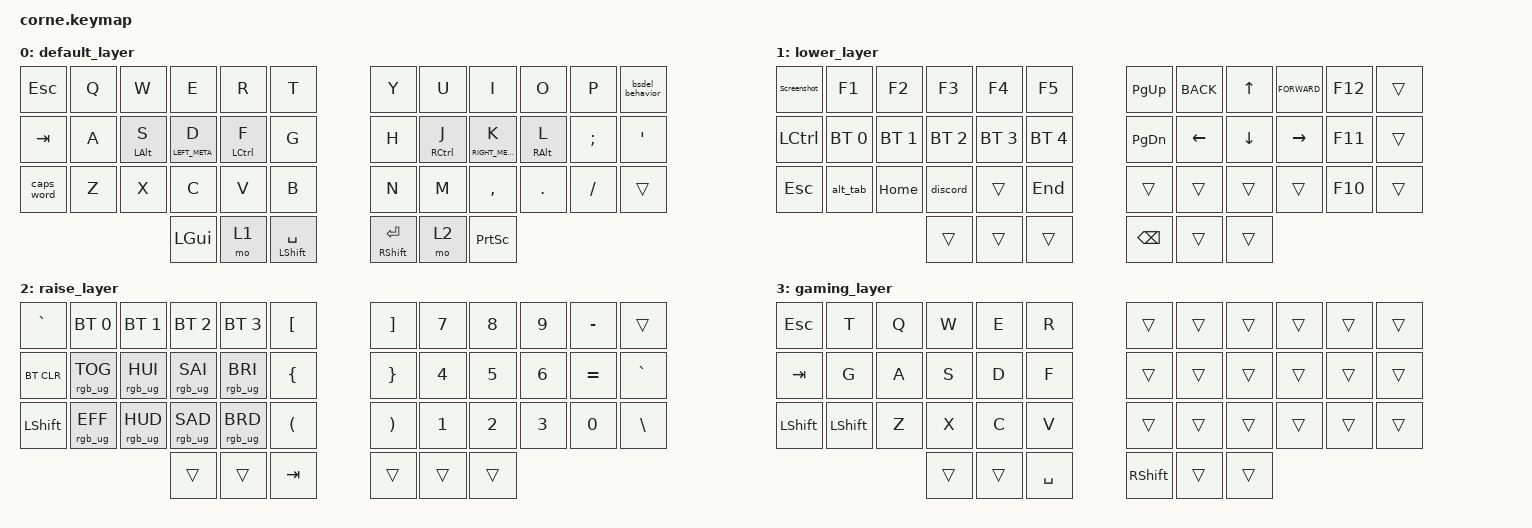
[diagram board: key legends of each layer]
/*
 * Copyright (c) 2020 The ZMK Contributors
 *
 * SPDX-License-Identifier: MIT
 */

#include <behaviors.dtsi>
#include <dt-bindings/zmk/bt.h>
#include <dt-bindings/zmk/keys.h>
#include <dt-bindings/zmk/rgb.h>

&led_strip { chain-length = <27>; };

/ {
    combos {
        compatible = "zmk,combos";

        gaming_layer_toggle {
            bindings = <&tog 3>;
            key-positions = <40 37>;
        };
    };

    behaviors {
        HMR: HMR {
            compatible = "zmk,behavior-hold-tap";
            label = "HMR";
            bindings = <&kp>, <&kp>;

            #binding-cells = <2>;
            tapping-term-ms = <200>;
            quick-tap-ms = <175>;
            flavor = "tap-preferred";
            hold-trigger-on-release;
        };

        HML: HML {
            compatible = "zmk,behavior-hold-tap";
            label = "HML";
            bindings = <&kp>, <&kp>;

            #binding-cells = <2>;
            tapping-term-ms = <200>;
            quick-tap-ms = <175>;
            hold-trigger-on-release;
            flavor = "tap-preferred";
        };

        bsdel_behavior: bsdel_behavior {
            compatible = "zmk,behavior-mod-morph";
            label = "BSDEL_BEHAVIOR";
            bindings = <&kp BACKSPACE>, <&kp DELETE>;

            #binding-cells = <0>;
            mods = <(MOD_LSFT)>;
        };
    };

    macros {
        alt_tab: alt_tab {
            compatible = "zmk,behavior-macro";
            #binding-cells = <0>;
            bindings = <&macro_press>, <&kp LEFT_META>, <&macro_tap>, <&kp TAB>;

            label = "ALT_TAB";
        };

        Screenshot: Screenshot {
            compatible = "zmk,behavior-macro";
            #binding-cells = <0>;
            bindings =
                <&macro_press>,
                <&kp LEFT_META>,
                <&macro_tap>,
                <&kp PRINTSCREEN>;

            label = "SCREENSHOT";
        };

        discord: discord {
            compatible = "zmk,behavior-macro";
            #binding-cells = <0>;
            bindings =
                <&macro_press>,
                <&kp LEFT_ALT>,
                <&macro_tap>,
                <&kp GRAVE>;

            label = "DISCORD";
        };
    };

    keymap {
        compatible = "zmk,keymap";

        default_layer {
            // -----------------------------------------------------------------------------------------
            // |  TAB |  Q  |  W  |  E  |  R  |  T  |   |  Y  |  U   |  I  |  O  |  P  | BKSP |
            // | CTRL |  A  |  S  |  D  |  F  |  G  |   |  H  |  J   |  K  |  L  |  ;  |  '   |
            // | SHFT |  Z  |  X  |  C  |  V  |  B  |   |  N  |  M   |  ,  |  .  |  /  | SHFT |
            //                    | GUI | LWR | ENT |   | SPC | RSE  | ALT |

            bindings = <
&kp ESCAPE  &kp Q  &kp W            &kp E             &kp R         &kp T                    &kp Y                   &kp U                 &kp I              &kp O             &kp P     &bsdel_behavior
&kp TAB     &kp A  &HMR LEFT_ALT S  &HMR LEFT_META D  &HMR LCTRL F  &kp G                    &kp H                   &HML RIGHT_CONTROL J  &HML RIGHT_META K  &HML RIGHT_ALT L  &kp SEMI  &kp SQT
&caps_word  &kp Z  &kp X            &kp C             &kp V         &kp B                    &kp N                   &kp M                 &kp COMMA          &kp DOT           &kp FSLH  &trans
                                    &kp LGUI          &mo 1         &HMR LEFT_SHIFT SPACE    &HML RIGHT_SHIFT ENTER  &mo 2                 &kp PRINTSCREEN
            >;
        };

        lower_layer {
            // -----------------------------------------------------------------------------------------
            // |  TAB |  1    |  2  |  3  |  4  |  5  |   |  6  |  7  |  8  |  9  |  0  | BKSP |
            // | LCTRL| BTCLR | BT0 | BT1 | BT2 | BT3 |   | LFT | DWN |  UP | RGT |     |      |
            // | ESC  |       | HOME| PGUP| PGDN| END |   |     |     |     |     |     |      |
            //                      | GUI |     | SPC |   | ENT |     | ALT |

            bindings = <
&Screenshot  &kp F1        &kp F2        &kp F3        &kp F4        &kp F5          &kp PG_UP      &kp K_BACK      &kp UP_ARROW    &kp K_FORWARD  &kp F12  &trans
&kp LCTRL    &bt BT_SEL 0  &bt BT_SEL 1  &bt BT_SEL 2  &bt BT_SEL 3  &bt BT_SEL 4    &kp PG_DN      &kp LEFT_ARROW  &kp DOWN_ARROW  &kp RIGHT      &kp F11  &trans
&kp ESC      &alt_tab      &kp HOME      &discord      &trans        &kp END         &trans         &trans          &trans          &trans         &kp F10  &trans
                                         &trans        &trans        &trans          &kp BACKSPACE  &trans          &trans
            >;
        };

        raise_layer {
            // -----------------------------------------------------------------------------------------
            // |  TAB |   !   |   @   |   #   |   $   |   %   |   |  ^  |  &  |  *  |  (  |  )  | BKSP |
            // | CTRL |RGB_TOG|RGB_HUI|RGB_SAI|RGB_VAI|       |   |  -  |  =  |  [  |  ]  |  \  |  `   |
            // | SHFT |RGB_MOD|RGB_HUD|RGB_SAD|RGB_VAD|QK_BOOT|   |  _  |  +  |  {  |  }  | "|" |  ~   |
            //                            | GUI |     |  SPC  |   | ENT |     | ALT |

            bindings = <
&kp GRAVE   &bt BT_SEL 0     &bt BT_SEL 1     &bt BT_SEL 2     &bt BT_SEL 3     &kp LEFT_BRACKET        &kp RIGHT_BRACKET      &kp N7  &kp N8  &kp N9  &kp MINUS  &trans
&bt BT_CLR  &rgb_ug RGB_TOG  &rgb_ug RGB_HUI  &rgb_ug RGB_SAI  &rgb_ug RGB_BRI  &kp LEFT_BRACE          &kp RIGHT_BRACE        &kp N4  &kp N5  &kp N6  &kp EQUAL  &kp GRAVE
&kp LSHFT   &rgb_ug RGB_EFF  &rgb_ug RGB_HUD  &rgb_ug RGB_SAD  &rgb_ug RGB_BRD  &kp LEFT_PARENTHESIS    &kp RIGHT_PARENTHESIS  &kp N1  &kp N2  &kp N3  &kp N0     &kp BACKSLASH
                                              &trans           &trans           &kp TAB                 &trans                 &trans  &trans
            >;
        };

        gaming_layer {
            bindings = <
&kp ESCAPE      &kp T           &kp Q  &kp W   &kp E   &kp R        &trans           &trans  &trans  &trans  &trans  &trans
&kp TAB         &kp G           &kp A  &kp S   &kp D   &kp F        &trans           &trans  &trans  &trans  &trans  &trans
&kp LEFT_SHIFT  &kp LEFT_SHIFT  &kp Z  &kp X   &kp C   &kp V        &trans           &trans  &trans  &trans  &trans  &trans
                                       &trans  &trans  &kp SPACE    &kp RIGHT_SHIFT  &trans  &trans
            >;
        };
    };
};
